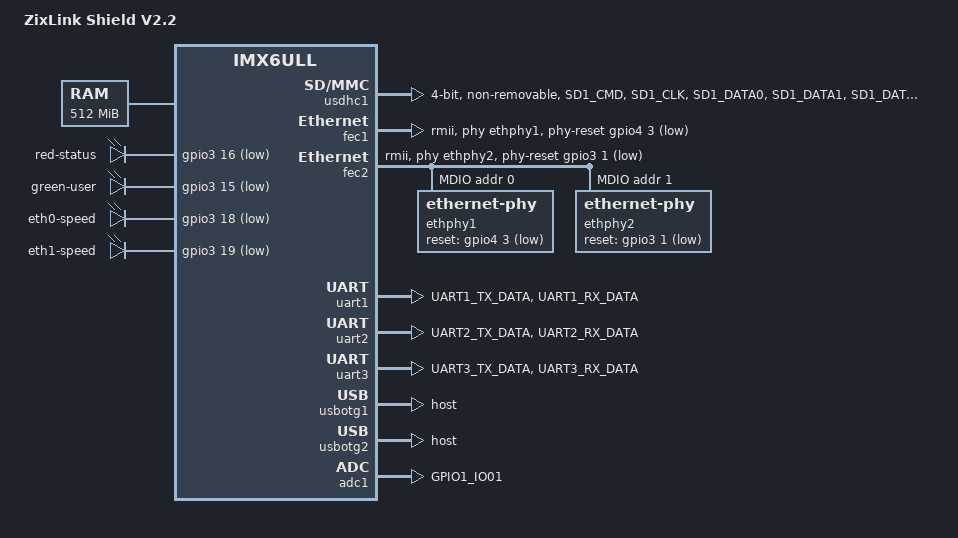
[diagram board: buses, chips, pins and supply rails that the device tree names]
/*
 * Copyright (C) 2020 ZixLink, LLC.
 *
 * This program is free software; you can redistribute it and/or modify
 * it under the terms of the GNU General Public License version 2 as
 * published by the Free Software Foundation.
 */

/dts-v1/;

#include <dt-bindings/input/input.h>
#include "imx6ull.dtsi"

/ {
	model = "ZixLink Shield V2.2";
	compatible = "fsl,zl-shield2-2", "fsl,imx6ull";

	memory {
		reg = <0x80000000 0x20000000>;
	};

	gpio-leds {
		compatible = "gpio-leds";
		pinctrl-names = "default";
		pinctrl-0 = <&pinctrl_leds>;

		status {
			label = "red-status";
			linux,default-trigger = "heartbeat";
			gpios = <&gpio3 16 GPIO_ACTIVE_LOW>;
		};

		user {
			label = "green-user";
			gpios = <&gpio3 15 GPIO_ACTIVE_LOW>;
		};

		eth0-speed {
			label = "eth0-speed";
			default-state = "off";
			linux,default-trigger = "20b4000.ethernet-1:01:100Mbps";
			gpios = <&gpio3 18 GPIO_ACTIVE_LOW>;
		};

		eth1-speed {
			label = "eth1-speed";
			linux,default-trigger = "20b4000.ethernet-1:00:100Mbps";
			gpios = <&gpio3 19 GPIO_ACTIVE_LOW>;
		};
	};
};

&usdhc1 {
	pinctrl-names = "default";
	pinctrl-0 = <&pinctrl_usdhc1>;

	bus-width = <4>;
	max-frequency = <50000000>;
	no-1-8-v;
	non-removable;
	disable-wp;
	keep-power-in-suspend;

	status = "okay";
};

&fec1 {
	pinctrl-names = "default";
	/*pinctrl-0 = <&pinctrl_enet1>;*/
	phy-mode = "rmii";
	phy-handle = <&ethphy1>;
	phy-reset-gpios = <&gpio4 3 GPIO_ACTIVE_LOW>;
	status = "okay";
};

&fec2 {
	pinctrl-names = "default";
	/*pinctrl-0 = <&pinctrl_enet2>;*/
	phy-mode = "rmii";
	phy-handle = <&ethphy2>;
	phy-reset-gpios = <&gpio3 1 GPIO_ACTIVE_LOW>;
	status = "okay";

	mdio {
		#address-cells = <1>;
		#size-cells = <0>;

		ethphy1: ethernet-phy@0 {
			reg = <0>;
			gpios-reset = <&gpio4 3 GPIO_ACTIVE_LOW>;
		};

		ethphy2: ethernet-phy@1 {
			reg = <1>;
			gpios-reset = <&gpio3 1 GPIO_ACTIVE_LOW>;
		};
	};
};

/*
USB1 PORT      gpio1        GPIO1_IO01
USB2 PORT      gpio2        GPIO1_IO02

LTE_PWRON      gpio108      GPIO4_IO12
LTE_ON_10SEC   gpio76       GPIO3_IO12

RS232          /dev/ttymxc2
*/

&snvs_poweroff {
	status = "okay";
};

&uart1 {
	pinctrl-names = "default";
	pinctrl-0 = <&pinctrl_uart1>;
	status = "okay";
};

&uart2 {
	pinctrl-names = "default";
	pinctrl-0 = <&pinctrl_uart2>;
	status = "okay";
};

&uart3 {
	pinctrl-names = "default";
	pinctrl-0 = <&pinctrl_uart3>;
	status = "okay";
};

&usbotg1 {
	dr_mode = "host";
	status = "okay";
};

&usbotg2 {
	dr_mode = "host";
	status = "okay";
};

&usbphy1 {
	fsl,tx-d-cal = <106>;
};

&usbphy2 {
	fsl,tx-d-cal = <106>;
};

&adc1 {
	pinctrl-names = "default";
	pinctrl-0 = <&pinctrl_adc1>;
	num-channels = <2>;
	status = "okay";
};

&iomuxc {
	pinctrl-names = "default";
	pinctrl-0 = <&pinctrl_enet1 &pinctrl_enet2>;

	pinctrl_usdhc1: usdhc1grp {
		fsl,pins = <
			MX6UL_PAD_SD1_CMD__USDHC1_CMD        0x1f0f9
			MX6UL_PAD_SD1_CLK__USDHC1_CLK        0x100f9
			MX6UL_PAD_SD1_DATA0__USDHC1_DATA0    0x1f0f9
			MX6UL_PAD_SD1_DATA1__USDHC1_DATA1    0x1f0f9
			MX6UL_PAD_SD1_DATA2__USDHC1_DATA2    0x1f0f9
			MX6UL_PAD_SD1_DATA3__USDHC1_DATA3    0x1f0f9
		>;
	};

	pinctrl_enet1: enet1grp {
		fsl,pins = <
			/*MX6UL_PAD_GPIO1_IO07__ENET1_MDC          0x1b0b0
			MX6UL_PAD_GPIO1_IO06__ENET1_MDIO         0x1b0b0*/

			MX6UL_PAD_ENET1_RX_EN__ENET1_RX_EN	0x1b0b0
			MX6UL_PAD_ENET1_RX_ER__ENET1_RX_ER	0x1b0b0
			MX6UL_PAD_ENET1_RX_DATA0__ENET1_RDATA00	0x1b0b0
			MX6UL_PAD_ENET1_RX_DATA1__ENET1_RDATA01	0x1b0b0
			MX6UL_PAD_ENET1_TX_EN__ENET1_TX_EN	0x1b0b0
			MX6UL_PAD_ENET1_TX_DATA0__ENET1_TDATA00	0x1b0b0
			MX6UL_PAD_ENET1_TX_DATA1__ENET1_TDATA01	0x1b0b0
			MX6UL_PAD_ENET1_TX_CLK__ENET1_REF_CLK1	0x4001b031

			MX6UL_PAD_NAND_DATA01__GPIO4_IO03	0xF0B0      // ENET1_nRESET 22kOhm pull up, pull enable
		>;
	};

	pinctrl_enet2: enet2grp {
		fsl,pins = <
			MX6UL_PAD_GPIO1_IO07__ENET2_MDC          0x1b0b0
			MX6UL_PAD_GPIO1_IO06__ENET2_MDIO         0x1b0b0

			MX6UL_PAD_ENET2_RX_EN__ENET2_RX_EN       0x1b0b0
			MX6UL_PAD_ENET2_RX_ER__ENET2_RX_ER       0x1b0b0
			MX6UL_PAD_ENET2_RX_DATA0__ENET2_RDATA00  0x1b0b0
			MX6UL_PAD_ENET2_RX_DATA1__ENET2_RDATA01  0x1b0b0
			MX6UL_PAD_ENET2_TX_EN__ENET2_TX_EN       0x1b0b0
			MX6UL_PAD_ENET2_TX_DATA0__ENET2_TDATA00  0x1b0b0
			MX6UL_PAD_ENET2_TX_DATA1__ENET2_TDATA01  0x1b0b0
			MX6UL_PAD_ENET2_TX_CLK__ENET2_REF_CLK2   0x4001b031

			MX6UL_PAD_LCD_ENABLE__GPIO3_IO01	0xF0B0      // ENET2_nRESET 22kOhm pull up, pull enable
		>;
	};

	pinctrl_uart1: uart1grp {
		fsl,pins = <
			MX6UL_PAD_UART1_TX_DATA__UART1_DCE_TX 0x1b0b1
			MX6UL_PAD_UART1_RX_DATA__UART1_DCE_RX 0x1b0b1
		>;
	};

	pinctrl_uart2: uart2grp {
		fsl,pins = <
			MX6UL_PAD_UART2_TX_DATA__UART2_DCE_TX	0x1b0b1
			MX6UL_PAD_UART2_RX_DATA__UART2_DCE_RX	0x1b0b1
		>;
	};

	pinctrl_uart3: uart3grp {
		fsl,pins = <
			MX6UL_PAD_UART3_TX_DATA__UART3_DCE_TX	0x1b0b1
			MX6UL_PAD_UART3_RX_DATA__UART3_DCE_RX	0x1b0b1
		>;
	};

	pinctrl_adc1: adc1grp {
		fsl,pins = <
			MX6UL_PAD_GPIO1_IO01__GPIO1_IO01	0x000b0 /* Pull/Keeper Disabled */
			MX6UL_PAD_GPIO1_IO01__GPIO1_IO01	0x000b0 /* Pull/Keeper Disabled */
		>;
	};

	pinctrl_leds: ledsgrp {
		fsl,pins = <
			MX6UL_PAD_LCD_DATA11__GPIO3_IO16	0x0b0b0
			MX6UL_PAD_LCD_DATA10__GPIO3_IO15	0x0b0b0
		>;
	};
};
